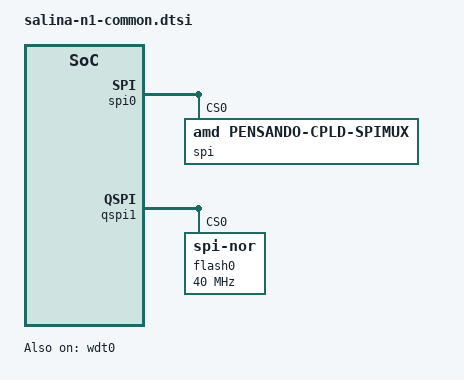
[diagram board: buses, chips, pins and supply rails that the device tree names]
// SPDX-License-Identifier: (GPL-2.0-only or BSD-2-Clause)
/*
 * Copyright 2023-2024 Advanced Micro Devices, Inc.
 */

&ahb_clk {
	clock-frequency = <400000000>;
};

&emmc_clk {
	clock-frequency = <200000000>;
};

&flash_clk {
	clock-frequency = <400000000>;
};

&ref_clk {
	clock-frequency = <100000000>;
};

&wdt0 {
	status = "okay";
};

&gpio0 {
	status = "ok";
};

&gpio1 {
	status = "ok";
};

&spi0 {
	status = "okay";

	spi@0 {
		compatible = "amd,pensando-cpld-spimux";
		reg = <0>;
		#address-cells = <1>;
		#size-cells = <0>;
		cs0 = <&spi0 0>;
		cs1 = <&spi0 1>;

		spi@0 {
			compatible = "amd,pensando-elbasr", "simple-mfd";
			reg = <0>;
			#address-cells = <1>;
			#size-cells = <0>;
			spi-max-frequency = <5000000>;

			rstc: reset-controller@0 {
				compatible = "amd,pensando-elbasr-reset";
				reg = <0>;
				spi-reset-frequency = <500000>;
				#reset-cells = <1>;
			};
		};

		spi@1 {
			compatible = "amd,pensando-elbasr", "simple-mfd";
			reg = <1>;
			spi-max-frequency = <5000000>;
		};

		spi@2 {
			compatible = "amd,pensando-cpld-rd1173";
			reg = <2>;
			spi-max-frequency = <12000000>;
			interrupt-gpios = <&porta 0 GPIO_ACTIVE_LOW>;
			interrupt-parent = <&porta>;
			interrupts = <0 IRQ_TYPE_LEVEL_LOW>;
		};

		spi@3 {
			compatible = "amd,pensando-elbasr", "simple-mfd";
			reg = <3>;
			spi-max-frequency = <12000000>;
		};
	};
};

/*
 * SPI1 (spi@c0000) drives the 512KB SST25WF040B (U6 on Leni), which is
 * dedicated to ARM secure-mode code storage and owned by TF-A. Linux must
 * not share the controller, so it is left disabled (SoC default) and is not
 * enabled here.
 */

&qspi1 {
	status = "okay";

	flash0: flash@0 {
		compatible = "jedec,spi-nor";
		reg = <0>;
		spi-max-frequency = <40000000>;
		spi-rx-bus-width = <2>;
		m25p,fast-read;
		cdns,read-delay = <6>;
		cdns,tshsl-ns = <200>;
		cdns,tsd2d-ns = <0>;
		cdns,tchsh-ns = <0>;
		cdns,tslch-ns = <0>;
		write-block-size = <1024>;
		erase-block-size = <4096>;
	};
};
